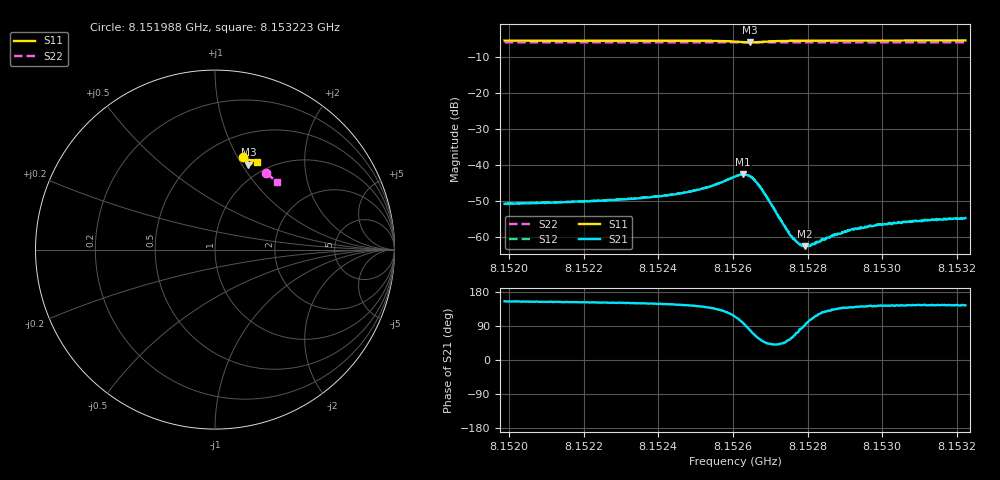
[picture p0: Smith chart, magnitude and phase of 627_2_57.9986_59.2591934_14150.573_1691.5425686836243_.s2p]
#  HZ  S  RI  R  50.00
! Rohde & Schwarz Vector Network Analyzer
! Rohde-Schwarz,ZNB20-2Port,1311601062101988,3.16
! Created: UTC 3/21/2024, 1:18:23 AM
! freq[Hz]  re:S11  im:S11  re:S21  im:S21  re:S12  im:S12  re:S22  im:S22
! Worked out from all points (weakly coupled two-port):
!   401 points, 8.151988 GHz to 8.153223 GHz, reference 50 ohm
!   highest |S21| = -42.52 dB at 8.152627 GHz (marker M1); lowest = -62.4 dB at 8.152794 GHz (marker M2)
!   lowest |S11| = -5.9 dB at 8.152646 GHz (marker M3), VSWR 3.07, Z = 41.8 + j53.4 ohm
!   |S11| at or under -10 dB: nowhere
!   |S22| runs from -5.9 to -5.8 dB; largest |S21 - S12| = 0.00013
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8.1519881e9  0.1565 0.5172  -0.00266 0.00123  -0.00266 0.0013  0.2857 0.4249
8.152195e9  0.1713 0.5127  -0.00278 0.00147  -0.00278 0.00149  0.2965 0.4172
8.152337e9  0.182 0.5089  -0.00297 0.00175  -0.00299 0.00179  0.3035 0.4118
8.1524018e9  0.1875 0.5067  -0.00317 0.00196  -0.00314 0.00202  0.307 0.4091
8.1524636e9  0.1929 0.5036  -0.00337 0.00234  -0.00337 0.00241  0.3101 0.4066
8.152513e9  0.198 0.5002  -0.00365 0.00292  -0.00365 0.003  0.3124 0.4045
8.1525531e9  0.2023 0.4952  -0.00383 0.00384  -0.00381 0.0039  0.3145 0.4029
8.1526056e9  0.2038 0.4809  -0.00293 0.00637  -0.00287 0.00645  0.3168 0.4002
8.1526272e9  0.1969 0.4734  -0.001 0.00741  -0.000929 0.00747  0.3176 0.3992
8.1526457e9  0.1862 0.4731  0.00137 0.00693  0.00148 0.00697  0.318 0.3986
8.1526612e9  0.1795 0.4791  0.00269 0.00534  0.0028 0.00538  0.3186 0.3984
8.1526766e9  0.1777 0.4865  0.00293 0.00367  0.00297 0.00371  0.3193 0.3981
8.1527384e9  0.1884 0.4998  0.000998 0.00103  0.00104 0.00101  0.3226 0.3959
8.1527569e9  0.1917 0.5006  0.00054 0.000885  0.000583 0.000879  0.3237 0.3953
8.1527754e9  0.1944 0.5007  0.000222 0.00079  0.000229 0.000787  0.3247 0.3945
8.1527939e9  0.1969 0.5008  -3.76e-05 0.000756  -5.31e-05 0.000779  0.3257 0.3937
8.1528125e9  0.1991 0.5006  -0.000264 0.000757  -0.000254 0.000768  0.3267 0.393
8.1528742e9  0.2054 0.4995  -0.00076 0.000774  -0.000775 0.000795  0.3297 0.3902
8.1529205e9  0.2096 0.4984  -0.00099 0.000862  -0.000981 0.000852  0.3318 0.3883
8.1530193e9  0.2173 0.4957  -0.00125 0.000917  -0.00126 0.00097  0.3367 0.3841
8.153115e9  0.2242 0.4931  -0.00143 0.000968  -0.00144 0.00103  0.3412 0.3799
8.1532231e9  0.2317 0.4899  -0.00151 0.00109  -0.00152 0.00107  0.3461 0.3753
